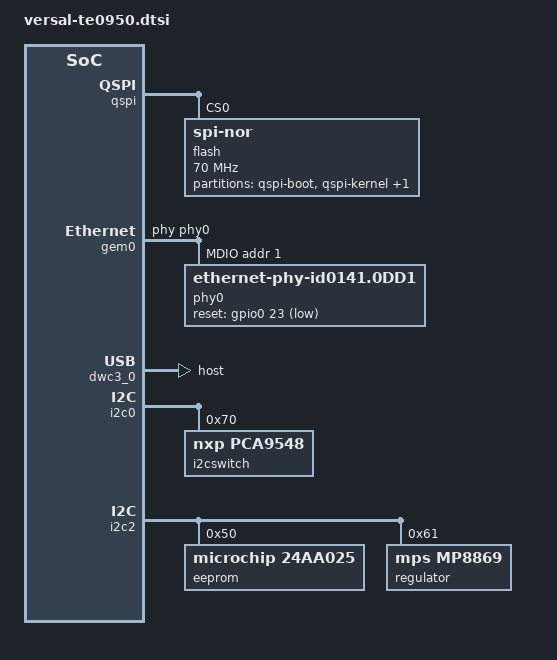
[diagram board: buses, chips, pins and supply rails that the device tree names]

/ {
	chosen {
		bootargs = "console=ttyAMA0 earlycon=pl011, mmio32,0xFF010000, clk_ignore_unused, ip=10.0.0.126:::255.255.255.0:versal-te0950:eth0";
		stdout-path = "serial0:115200n8";
	};

	aliases {
		ethernet0 = &gem0;
	};
};

#include "include/dt-bindings/gpio/gpio.h"


/*------------------ SD --------------------*/
&sdhci1 {
	no-1-8-v;
};

/*------------------ QSPI --------------------*/
&qspi {
	flash@0 {
		compatible = "jedec,spi-nor";
		reg = <0>;

		spi-rx-bus-width = <4>;
		spi-tx-bus-width = <4>;
		/* actually the chip can do 90MHz, 
		 * reduced to 70MHz as in 2023.2 otherwise JEDEC ID was wrong on first bit */
		spi-max-frequency = <70000000>; 

		#address-cells = <1>;
		#size-cells = <1>;

		partition@0 {
			label = "qspi-boot";
			reg = <0x00000000 0x00100000>;
		};
		partition@1 {
			label = "qspi-kernel";
			reg = <0x00100000 0x01600000>;
		};
		partition@2 {
			label = "qspi-bootenv";
			reg = <0x01700000 0x00040000>;
		};
	};
};

/*------------------ ETH PHY --------------------*/
&gem0 {
	phy-handle = <&phy0>;

	nvmem-cells = <&eth0_addr>;
	nvmem-cell-names = "mac-address";

	mdio {
		phy0: phy0@1 {
			device_type = "ethernet-phy";
			reg = <1>;

			//only needed because of reset-gpios present
			compatible = "ethernet-phy-id0141.0DD1"; //uboot: [mii read 1 2].[mii read 1 3]

			reset-names = "ETH_RESET";
			reset-gpios = <&gpio0 23 GPIO_ACTIVE_LOW>;
			reset-assert-us = <10000>; //minimum duration according to datasheet 10ms
			reset-deassert-us = <2000>;
		};
	};
};


/*------------------ PS GPIO MISC --------------------*/
&gpio0 {
	gpio-line-names = 
		"", "", "", "", "", "", "", "", "", "",
		"", "", "", "", "", "", "", "", "", "",
		"", "", "LPD_MIO22", "";
};
&gpio1 {
	gpio-line-names = 
		"", "", "", "", "", "", "", "", "", "",
		"", "", "", "", "", "", "", "", "", "",
		"", "", "", "", "", "", "", "PMC_MIO27", "", "",
		"", "", "", "", "", "", "", "USB_OC", "", "",
		"", "", "", "", "", "", "", "", "", "",
		"", "LED0", "", "", "", "", "", "", "", "";
};


/*------------------ USB --------------------*/
&dwc3_0 {
	dr_mode = "host";
};

/*------------------ I2C --------------------*/
&i2c0 {
	i2cswitch@70 { // Artix I2C MUX Emulations
		compatible = "nxp,pca9548";
		#address-cells = <1>;
		#size-cells = <0>;
		reg = <0x70>;
		i2c-mux-idle-disconnect;
 
		i2c_cruvi_hs1: i2c@0 { // CRUVI HS1 IIC
			reg = <0>;
		};
		i2c_cruvi_hs2: i2c@1 { // CRUVI HS2 IIC
			reg = <1>;
		};
		i2c_qsfp: i2c@2 { // QSFP IIC
			reg = <2>;
		};
		i2c_fmc: i2c@3 { // FMC IIC
			reg = <3>;
		};
	};
};

&i2c2 {
	status = "okay";
  
	eeprom: eeprom@50 {
		compatible = "microchip,24aa025", "atmel,24c02";
		reg = <0x50>;
		
		#address-cells = <1>;
		#size-cells = <1>;
		eth0_addr: eth-mac-addr@FA {
			reg = <0xFA 0x06>;
		};
	};
  
	regulator: regulator@61 {
		compatible = "mps,mp8869";
		reg = <0x61>;
		//driver can only set voltages, not read current...
		
		mps,fb-voltage-divider = <80 13>;
		//needs enable gpio e.g.: enable-gpios = <&porta 1 GPIO_ACTIVE_LOW>;
    
	};
};
